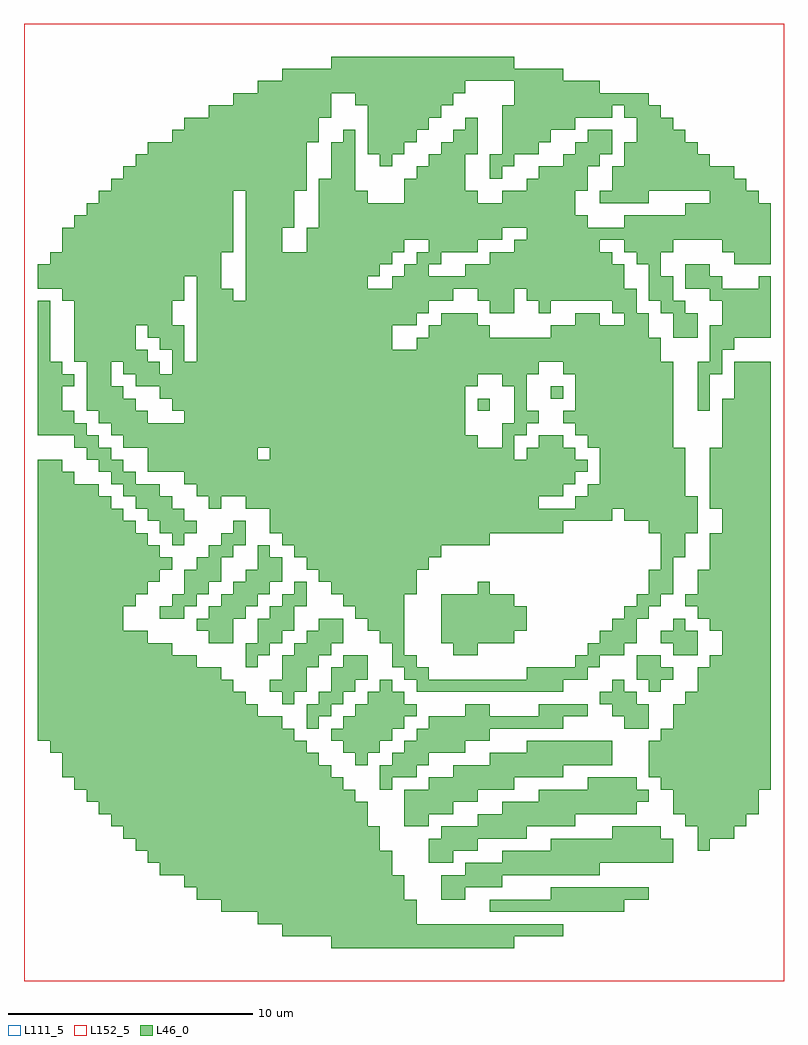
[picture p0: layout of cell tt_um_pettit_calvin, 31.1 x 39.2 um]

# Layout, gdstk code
import gdstk
lib = gdstk.Library(unit=1e-6, precision=1e-09)
def R(c, l, rs):  # rectangles x0, y0, x1, y1
    for r in rs: c.add(gdstk.rectangle(r[:2], r[2:], *l))
def A(c, l, x, y, w, h, nx, ny, dx, dy):  # array of equal rectangles
    R(c, l, [(x+i*dx, y+j*dy, x+i*dx+w, y+j*dy+h) for i in range(nx) for j in range(ny)])
L46_0 = (46, 0)
L111_5 = (111, 5)
L152_5 = (152, 5)

tt_um_pettit_calvin = lib.new_cell('tt_um_pettit_calvin')
A(tt_um_pettit_calvin, L46_0, 25, 7, 5, 0.5, 1, 3, 0, 0.5)
A(tt_um_pettit_calvin, L46_0, 0, 12.5, 4.5, 0.5, 1, 3, 0, 2)
A(tt_um_pettit_calvin, L46_0, 27.5, 15.5, 2.5, 0.5, 1, 3, 0, 0.5)
A(tt_um_pettit_calvin, L46_0, 27.5, 18, 2.5, 0.5, 1, 5, 0, 0.5)
A(tt_um_pettit_calvin, L46_0, 23, 19, 3.5, 0.5, 1, 3, 0, 0.5)
A(tt_um_pettit_calvin, L46_0, 28, 20.5, 2, 0.5, 1, 4, 0, 0.5)
A(tt_um_pettit_calvin, L46_0, 22, 22, 4, 0.5, 1, 3, 0, 0.5)
A(tt_um_pettit_calvin, L46_0, 27, 22, 0.5, 0.5, 1, 3, 0, 0.5)
A(tt_um_pettit_calvin, L46_0, 28.5, 22.5, 1.5, 0.5, 1, 3, 0, 0.5)
A(tt_um_pettit_calvin, L46_0, 0, 24, 0.5, 0.5, 1, 5, 0, 0.5)
A(tt_um_pettit_calvin, L46_0, 22, 25.5, 1, 0.5, 3, 1, 2, 0)
A(tt_um_pettit_calvin, L46_0, 8.5, 29.5, 2, 0.5, 1, 3, 0, 0.5)
A(tt_um_pettit_calvin, L46_0, 12, 31.5, 1, 0.5, 1, 3, 0, 0.5)
A(tt_um_pettit_calvin, L46_0, 13.5, 33, 2, 0.5, 3, 1, 5.5, 0)
R(tt_um_pettit_calvin, L46_0, [(12,0,19.5,0.5), (10,0.5,21.5,1), (9,1,15.5,1.5), (7.5,1.5,15.5,2), (18.5,1.5,24,2), (6.5,2,15,2.5), (16.5,2,17.5,2.5), (21,2,25,2.5), (6,2.5,15,3), (16.5,2.5,19,3), (5,3,14.5,3.5), (17.5,3,23,3.5), (4.5,3.5,14.5,4), (16,3.5,17,4), (19,3.5,26,4), (4,4,14,4.5), (16,4,18,4.5), (21,4,26,4.5), (27,4,27.5,4.5), (3.5,4.5,14,5), (16.5,4.5,20,5), (23.5,4.5,25.5,5), (27,4.5,28.5,5), (3,5,13.5,5.5), (15,5,16,5.5), (18,5,22,5.5), (26.5,5,29,5.5), (2.5,5.5,13.5,6), (15,5.5,17,6), (19,5.5,24.5,6), (26,5.5,29.5,6), (2,6,13,6.5), (15,6,18,6.5), (20.5,6,25,6.5), (26,6,29.5,6.5), (1.5,6.5,12.5,7), (14,6.5,14.5,7), (16,6.5,19.5,7), (22.5,6.5,24.5,7), (25.5,6.5,30,7), (1,7,12,7.5), (14,7,15.5,7.5), (17,7,21.5,7.5), (1,7.5,11.5,8), (13,7.5,13.5,8), (14.5,7.5,16,8), (18.5,7.5,23.5,8), (0.5,8,11,8.5), (12.5,8,14,8.5), (15,8,17.5,8.5), (20,8,23.5,8.5), (0,8.5,10.5,9), (12,8.5,14.5,9), (15.5,8.5,18.5,9), (25.5,8.5,30,9), (0,9,10,9.5), (11,9,11.5,9.5), (12.5,9,15,9.5), (16,9,21.5,9.5), (24,9,25,9.5), (26,9,30,9.5), (0,9.5,9,10), (11,9.5,12,10), (13,9.5,15.5,10), (17.5,9.5,18.5,10), (20.5,9.5,22.5,10), (23.5,9.5,25,10), (26,9.5,30,10), (0,10,8.5,10.5), (10,10,10.5,10.5), (11.5,10,12.5,10.5), (13.5,10,15,10.5), (23,10,24.5,10.5), (26.5,10,30,10.5), (0,10.5,8,11), (9.5,10.5,11,11), (12,10.5,13,11), (14,10.5,14.5,11), (15.5,10.5,21.5,11), (23.5,10.5,24,11), (25,10.5,25.5,11), (27,10.5,30,11), (0,11,7.5,11.5), (10,11,11,11.5), (12,11,13.5,11.5), (15,11,16,11.5), (20,11,22.5,11.5), (24.5,11,26,11.5), (27,11,30,11.5), (0,11.5,6.5,12), (8.5,11.5,9,12), (10,11.5,11.5,12), (12.5,11.5,13.5,12), (14.5,11.5,15.5,12), (22,11.5,23,12), (24.5,11.5,25.5,12), (27.5,11.5,30,12), (0,12,5.5,12.5), (8.5,12,9.5,12.5), (10.5,12,12,12.5), (14.5,12,15,12.5), (17,12,18,12.5), (22.5,12,24,12.5), (26,12,27,12.5), (28,12,30,12.5), (7,12.5,8,13), (9,12.5,10,13), (11,12.5,12.5,13), (14,12.5,15,13), (16.5,12.5,19.5,13), (23,12.5,24.5,13), (25.5,12.5,27,13), (28,12.5,30,13), (0,13,3.5,13.5), (6.5,13,8,13.5), (9,13,10.5,13.5), (11.5,13,12.5,13.5), (13.5,13,15,13.5), (16.5,13,20,13.5), (23.5,13,24.5,13.5), (26,13,26.5,13.5), (27.5,13,30,13.5), (0,13.5,3.5,14), (5,13.5,6,14), (7,13.5,8.5,14), (9.5,13.5,10.5,14), (13,13.5,15,14), (16.5,13.5,20,14), (24,13.5,25,14), (27,13.5,30,14), (0,14,4,14.5), (5.5,14,6.5,14.5), (7.5,14,9,14.5), (10,14,11,14.5), (12.5,14,15,14.5), (16.5,14,19.5,14.5), (24.5,14,25.5,14.5), (26.5,14,30,14.5), (6,14.5,7,15), (8,14.5,9.5,15), (10.5,14.5,11,15), (12,14.5,15.5,15), (18,14.5,18.5,15), (25,14.5,26,15), (27,14.5,30,15), (0,15,5,15.5), (6,15,7.5,15.5), (8.5,15,10,15.5), (11.5,15,15.5,15.5), (25,15,26,15.5), (27,15,30,15.5), (0,15.5,5.5,16), (6.5,15.5,7.5,16), (9,15.5,10,16), (11,15.5,16,16), (25.5,15.5,26,16), (0,16,5,16.5), (7,16,8,16.5), (9,16,9.5,16.5), (10.5,16,16.5,16.5), (25.5,16,26.5,16.5), (5.5,16.5,6,17), (7.5,16.5,8.5,17), (10,16.5,18.5,17), (25.5,16.5,26.5,17), (0,17,4,17.5), (5,17,6.5,17.5), (8,17,8.5,17.5), (9.5,17,21.5,17.5), (25,17,27,17.5), (28,17,30,17.5), (0,17.5,3.5,18), (4.5,17.5,6,18), (9.5,17.5,23.5,18), (24,17.5,27,18), (28,17.5,30,18), (0,18,3,18.5), (4,18,5.5,18.5), (7,18,7.5,18.5), (8.5,18,20.5,18.5), (22,18,27,18.5), (0,18.5,2.5,19), (3.5,18.5,5,19), (6.5,18.5,21.5,19), (22.5,18.5,26.5,19), (0,19,1.5,19.5), (3,19,4,19.5), (6,19,22,19.5), (0,19.5,1,20), (2.5,19.5,3.5,20), (4.5,19.5,22.5,20), (2,20,3,20.5), (4.5,20,9,20.5), (9.5,20,19.5,20.5), (20,20,22,20.5), (1.5,20.5,2.5,21), (3.5,20.5,18,21), (19,20.5,19.5,21), (20.5,20.5,21.5,21), (22.5,20.5,26,21), (0,21,2,21.5), (3,21,17.5,21.5), (19,21,20,21.5), (22,21,26,21.5), (0,21.5,1.5,22), (2.5,21.5,4.5,22), (6,21.5,17.5,22), (19.5,21.5,20.5,22), (21.5,21.5,26,22), (0,22,1,22.5), (2,22,4,22.5), (5.5,22,17.5,22.5), (18,22,18.5,22.5), (19.5,22,20,22.5), (0,22.5,1,23), (2,22.5,3.5,23), (5,22.5,17.5,23), (19.5,22.5,20,23), (21,22.5,21.5,23), (0,23,1.5,23.5), (2,23,3,23.5), (4,23,18,23.5), (19,23,20,23.5), (0,23.5,1,24), (2,23.5,3,24), (3.5,23.5,5,24), (5.5,23.5,20.5,24), (21.5,23.5,26,24), (27,23.5,28,24), (1.5,24,4.5,24.5), (5.5,24,6,24.5), (6.5,24,25.5,24.5), (27.5,24,28,24.5), (1.5,24.5,4,25), (5,24.5,6,25), (6.5,24.5,14.5,25), (15.5,24.5,25.5,25), (27.5,24.5,28.5,25), (1.5,25,4,25.5), (4.5,25,6,25.5), (6.5,25,14.5,25.5), (16,25,18.5,25.5), (21,25,25,25.5), (26,25,27,25.5), (27.5,25,30,25.5), (1.5,25.5,5.5,26), (6.5,25.5,15.5,26), (16.5,25.5,18,26), (28,25.5,30,26), (1.5,26,5.5,26.5), (6.5,26,16,26.5), (18.5,26,19.5,26.5), (20.5,26,21,26.5), (23.5,26,24.5,26.5), (25.5,26,26.5,26.5), (28,26,30,26.5), (1,26.5,6,27), (6.5,26.5,8,27), (8.5,26.5,17,27), (18,26.5,19.5,27), (20,26.5,24.5,27), (25,26.5,26,27), (27.5,26.5,30,27), (0,27,6,27.5), (6.5,27,7.5,27.5), (8.5,27,13.5,27.5), (14.5,27,24,27.5), (25,27,26,27.5), (26.5,27,28,27.5), (29.5,27,30,27.5), (0,27.5,7.5,28), (8.5,27.5,14,28), (15,27.5,16,28), (17.5,27.5,24,28), (25,27.5,25.5,28), (26.5,27.5,27.5,28), (0.5,28,7.5,28.5), (8.5,28,14.5,28.5), (15.5,28,16.5,28.5), (18.5,28,23.5,28.5), (24.5,28,25.5,28.5), (28.5,28,30,28.5), (1,28.5,8,29), (8.5,28.5,10,29), (11,28.5,15,29), (16,28.5,18,29), (19.5,28.5,23,29), (24,28.5,26,29), (28,28.5,30,29), (1,29,8,29.5), (8.5,29,10,29.5), (11,29,19,29.5), (20,29,30,29.5), (1.5,29.5,8,30), (11.5,29.5,22.5,30), (24,29.5,30,30), (2,30,8,30.5), (11.5,30,22,30.5), (26.5,30,30,30.5), (2.5,30.5,8,31), (11.5,30.5,13.5,31), (15,30.5,18,31), (19,30.5,22,31), (23,30.5,25,31), (27.5,30.5,29.5,31), (3,31,11,31.5), (11.5,31,13,31.5), (15,31,17.5,31.5), (20,31,22.5,31.5), (23.5,31,29,31.5), (3.5,31.5,11,32), (15.5,31.5,17.5,32), (18.5,31.5,19,32), (20.5,31.5,22.5,32), (23.5,31.5,28.5,32), (4,32,11,32.5), (14,32,14.5,32.5), (16,32,17.5,32.5), (18.5,32,19.5,32.5), (21.5,32,23,32.5), (24,32,27.5,32.5), (4.5,32.5,11,33), (13.5,32.5,15,33), (16.5,32.5,18,33), (19,32.5,20.5,33), (22,32.5,23.5,33), (24,32.5,27,33), (5.5,33,11.5,33.5), (12.5,33,13,33.5), (17,33,18,33.5), (22.5,33,23.5,33.5), (6,33.5,11.5,34), (13.5,33.5,16,34), (17.5,33.5,18,34), (19,33.5,22,34), (24.5,33.5,26,34), (7,34,12,34.5), (13.5,34,16.5,34.5), (19,34,23.5,34.5), (24,34,25.5,34.5), (8,34.5,12,35), (13,34.5,17,35), (19.5,34.5,25,35), (9,35,17.5,35.5), (19.5,35,23,35.5), (10,35.5,21.5,36), (12,36,19.5,36.5)])
R(tt_um_pettit_calvin, L111_5, [(-0.565,-1.35,30.535,37.85)])
R(tt_um_pettit_calvin, L152_5, [(-0.565,-1.35,30.535,37.85)])

lib.write_gds('tt_um_pettit_calvin.gds')
